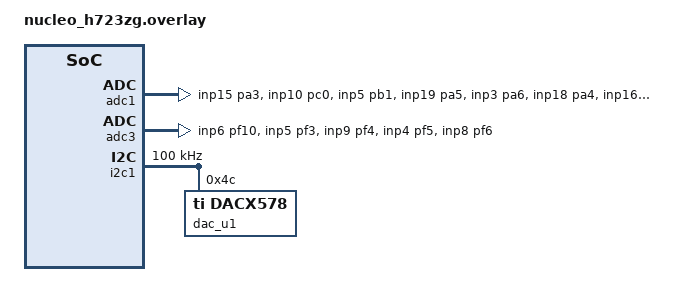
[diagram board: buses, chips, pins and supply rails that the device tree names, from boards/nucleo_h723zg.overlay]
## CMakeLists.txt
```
# SPDX-License-Identifier: Apache-2.0

cmake_minimum_required(VERSION 3.20.0)

# Out-of-tree devicetree bindings (zephyr,i2c-vpcb). Must precede find_package.
list(APPEND DTS_ROOT ${CMAKE_CURRENT_SOURCE_DIR})

find_package(Zephyr REQUIRED HINTS $ENV{ZEPHYR_BASE})

project(adc_sampler)

# Shared sources (target-agnostic)
target_sources(app PRIVATE
    src/main.c
    src/regs.c
    src/cmd_read_regs.c
)

# Target-specific sources
if(CONFIG_APP_TARGET_SIM)
    message(STATUS "Building for SIMULATOR target")
    target_sources(app PRIVATE
        targets/sim/adc_backend.c
        targets/sim/cmd_inject_adc.c
    )
elseif(CONFIG_APP_TARGET_HW)
    message(STATUS "Building for HARDWARE target")
    target_sources(app PRIVATE
        targets/hw/adc_backend.c
    )
elseif(CONFIG_APP_TARGET_VPCB)
    message(STATUS "Building for VIRTUAL PCB target (out-of-process ICs)")
    target_sources(app PRIVATE
        targets/vpcb/adc_backend.c
        drivers/i2c_vpcb.c
    )
    target_include_directories(app PRIVATE
        ${CMAKE_CURRENT_SOURCE_DIR}/drivers
    )
    # Host-context half: sockets live here, compiled against host headers.
    target_sources(native_simulator INTERFACE
        ${CMAKE_CURRENT_SOURCE_DIR}/drivers/i2c_vpcb_bottom.c
    )
    # The native_simulator INTERFACE target honours COMPILE_OPTIONS but NOT
    # INTERFACE_INCLUDE_DIRECTORIES (see arch/posix/CMakeLists.txt), so include
    # paths for host-context sources have to be passed as -I.
    target_compile_options(native_simulator INTERFACE
        "-I${CMAKE_CURRENT_SOURCE_DIR}/drivers"
        "-I${CMAKE_CURRENT_SOURCE_DIR}/../vpcb/include"
    )
endif()

# The DACx578 driver is not tied to any one target: it talks to whichever I2C
# controller devicetree hands it, so it builds for hardware as readily as for
# the virtual PCB. CONFIG_DAC_DACX578 follows the devicetree, so adding a node
# on any board is enough to pull the driver in.
if(CONFIG_DAC_DACX578)
    target_sources(app PRIVATE
        drivers/dac_dacx578.c
        src/cmd_dac.c
        src/dac_health.c
    )
endif()

if(NOT CONFIG_APP_TARGET_SIM AND NOT CONFIG_APP_TARGET_HW AND NOT CONFIG_APP_TARGET_VPCB)
    message(WARNING "No target selected! Set CONFIG_APP_TARGET_SIM, CONFIG_APP_TARGET_HW or CONFIG_APP_TARGET_VPCB")
endif()
```

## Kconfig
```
# SPDX-License-Identifier: Apache-2.0

mainmenu "ADC Sampler Application"

menu "Target Selection"

config APP_TARGET_SIM
    bool "Simulator target (QEMU with adc-emul)"
    help
      Build for QEMU x86 simulator with ADC emulation.
      Enables injection commands for testing.

config APP_TARGET_HW
    bool "Hardware target (real ADC)"
    help
      Build for real hardware with physical ADC.
      No injection commands are compiled.

config APP_TARGET_VPCB
    bool "Virtual PCB target (native_sim, out-of-process ICs)"
    help
      Build for native_sim against a virtual PCB. The I2C bus leaves the
      process: IC models run as separate OS processes and are reached over
      a Unix socket, so an absent chip NAKs exactly as it would on copper.

endmenu

menu "Virtual PCB"

config I2C_VPCB
    bool "Virtual PCB I2C controller driver"
    depends on I2C
    help
      I2C controller that forwards transactions out of the process to the
      virtual PCB board process.

endmenu

menu "Application Configuration"

config APP_NUM_CH
    int "Number of ADC channels"
    default 4
    range 1 16
    help
      Number of ADC channels to sample.

config APP_SAMPLE_PERIOD_MS
    int "Sampling period in milliseconds"
    default 100
    range 10 10000
    help
      How often to sample all ADC channels.

endmenu

menu "Device Drivers"

config DAC_DACX578
    bool "TI DACx578 8-channel I2C DAC"
    default y
    depends on DT_HAS_TI_DACX578_ENABLED
    depends on DAC && I2C
    help
      Driver for the TI DAC5578/6578/7578 family. Nothing in it is specific
      to the virtual PCB: it drives whichever I2C controller devicetree hands
      it, so the same object code runs against an out-of-process IC model and
      against real silicon.

endmenu

source "Kconfig.zephyr"
```

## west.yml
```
manifest:
  version: "0.13"
  self:
    path: app
```

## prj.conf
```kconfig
# Common configuration for all targets

# Shell subsystem
CONFIG_SHELL=y
CONFIG_SHELL_BACKEND_SERIAL=y

# Logging (optional, useful for debugging)
CONFIG_LOG=y
CONFIG_LOG_MODE_MINIMAL=y
```

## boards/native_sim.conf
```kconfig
# SPDX-License-Identifier: Apache-2.0
# Virtual PCB target: ICs run as separate host processes.

CONFIG_APP_TARGET_VPCB=y

CONFIG_ADC=y
CONFIG_ADC_EMUL=y

CONFIG_I2C=y
CONFIG_I2C_VPCB=y

# DACx578 driver: the firmware now reaches the DACs through the DAC API
# rather than composing I2C bytes itself.
CONFIG_DAC=y

# 15 channels: two DAC7578s (0x48, 0x4c) give 16, we use 15.
CONFIG_APP_NUM_CH=15

CONFIG_LOG=y
CONFIG_LOG_MODE_MINIMAL=y

# Pace simulated time to wall clock. Not needed for correctness - the IC models
# are purely reactive and need no clock - but without it the 100 ms sample
# period elapses instantly and the ADC floods the board process with net reads.
CONFIG_NATIVE_SIM_SLOWDOWN_TO_REAL_TIME=y

# Console on stdin/stdout instead of a pseudotty: simpler for automated tests
# and pipes (the pytest DUT then needs no PTY discovery at all).
CONFIG_UART_NATIVE_PTY_0_ON_STDINOUT=y
```

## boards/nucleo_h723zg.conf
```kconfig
# SPDX-License-Identifier: Apache-2.0
# Board-specific configuration for NUCLEO-H723ZG (hardware)

# Select hardware target
CONFIG_APP_TARGET_HW=y

# ADC subsystem
CONFIG_ADC=y

# Number of ADC channels (15 for mux setup)
CONFIG_APP_NUM_CH=15

# I2C and the DACx578 driver. The DACs are declared in the overlay so the same
# driver that runs against the virtual PCB is compiled for hardware too.
CONFIG_I2C=y
CONFIG_DAC=y
```

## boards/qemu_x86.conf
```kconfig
# SPDX-License-Identifier: Apache-2.0
# Board-specific configuration for QEMU x86 (simulator)

# Select simulator target
CONFIG_APP_TARGET_SIM=y

# ADC subsystem
CONFIG_ADC=y

# ADC emulator driver
CONFIG_ADC_EMUL=y

# Number of ADC channels (matches hardware configuration)
CONFIG_APP_NUM_CH=15
```

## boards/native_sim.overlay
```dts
/*
 * SPDX-License-Identifier: Apache-2.0
 *
 * Virtual PCB topology.
 *
 * The I2C bus leaves the process: transactions are forwarded to a separate
 * board process where the IC models run as their own OS processes.
 *
 * The ADC is internal to the MCU, so it stays in-process. native_sim already
 * provides an adc_emul instance at &adc0; widen it to the 15 channels this
 * application samples and give it the 3.3 V reference the DAC full-scale is
 * matched to.
 *
 * Two DACs by default. Build with one - the same rig as a bench with a single
 * breakout - by adding:   -- -DDTS_EXTRA_CPPFLAGS=-DAPP_DAC_COUNT=1
 * and run it against vpcb/netlists/adc_loopback_one_dac.txt.
 */

#ifndef APP_DAC_COUNT
#define APP_DAC_COUNT 2
#endif

/ {
    vpcb_i2c: i2c-vpcb {
        compatible = "zephyr,i2c-vpcb";
        status = "okay";
        #address-cells = <1>;
        #size-cells = <0>;
        clock-frequency = <100000>;

#if APP_DAC_COUNT == 1
        /* One DAC7578 at the breakout's factory address serves channels 0-7.
         * Channels 8-14 are still sampled; nothing drives them.
         */
        dac_u1: dacx578@4c {
            compatible = "ti,dacx578";
            reg = <0x4c>;
            #io-channel-cells = <1>;
            resolution = <12>;
            full-scale-mv = <3300>;
            status = "okay";
        };
#else
        /* Two DAC7578s cover the 15 channels the application samples:
         * 0x48 serves 0-7, 0x4c serves 8-14.
         */
        dac_u1: dacx578@48 {
            compatible = "ti,dacx578";
            reg = <0x48>;
            #io-channel-cells = <1>;
            resolution = <12>;
            full-scale-mv = <3300>;
            status = "okay";
        };

        dac_u2: dacx578@4c {
            compatible = "ti,dacx578";
            reg = <0x4c>;
            #io-channel-cells = <1>;
            resolution = <12>;
            full-scale-mv = <3300>;
            status = "okay";
        };
#endif
    };
};

&adc0 {
    nchannels = <15>;
    ref-internal-mv = <3300>;
    status = "okay";
};
```

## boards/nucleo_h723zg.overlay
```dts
/*
 * SPDX-License-Identifier: Apache-2.0
 *
 * Devicetree overlay for NUCLEO-H723ZG - 15-channel ADC configuration
 * 
 * Configures ADC1 and ADC3 with proper pinctrl for all channels.
 */

&adc1 {
	status = "okay";
	st,adc-clock-source = "SYNC";
	st,adc-prescaler = <4>;
	pinctrl-0 = <&adc1_inp15_pa3   /* C0: A0 */
	             &adc1_inp10_pc0   /* C1: A1 */
	             &adc1_inp5_pb1    /* C3: A3 */
	             &adc1_inp19_pa5   /* C6: D13 */
	             &adc1_inp3_pa6    /* C7: D12 */
	             &adc1_inp18_pa4   /* C8: D24 */
	             &adc1_inp16_pa0   /* C13: D32 */
	             &adc1_inp9_pb0>;  /* C14: D33 */
	pinctrl-names = "default";
};

&adc3 {
	status = "okay";
	st,adc-clock-source = "SYNC";
	st,adc-prescaler = <4>;
	pinctrl-0 = <&adc3_inp1_pc3_c  /* C2: A2 - PC3 is ADC3_INP1 */
	             &adc3_inp0_pc2_c  /* C4: A4 - PC2 is ADC3_INP0 */
	             &adc3_inp6_pf10   /* C5: A5 */
	             &adc3_inp5_pf3    /* C9: D8 */
	             &adc3_inp9_pf4    /* C10: A6 */
	             &adc3_inp4_pf5    /* C11: A7 */
	             &adc3_inp8_pf6>;  /* C12: A8 */
	pinctrl-names = "default";
};

/*
 * DAC7578 breakout(s) on the Arduino R3 I2C header. i2c1 is `arduino_i2c` on
 * this board and the board DTS already enables it on PB8 (D15, SCL) and PB9
 * (D14, SDA), so only the bus speed and the child nodes are set here.
 *
 * One DAC by default: a single breakout exactly as it ships answers at 0x4c,
 * so the rig needs no soldering. It drives board channels 0-7; channels 8-14
 * are still sampled and read whatever their floating pins pick up.
 *
 * For two DACs and all 15 channels, build with
 *     -- -DDTS_EXTRA_CPPFLAGS=-DAPP_DAC_COUNT=2
 * and strap the first board to 0x48 (address jumper to GND). Addresses are
 * strapped, not programmed -- see the table in docs/hardware.md. That is the
 * configuration the virtual PCB models by default.
 *
 * full-scale-mv is 3300 because full scale equals VREFIN (datasheet Equation 1:
 * VOUT = code / 2^n x VREFIN) and the rig ties VREFIN to the 3.3 V supply. If
 * your reference is something else, this number must change with it.
 */
#ifndef APP_DAC_COUNT
#define APP_DAC_COUNT 1
#endif

&i2c1 {
	status = "okay";

	/* 100 kHz, not the board default of 400. One breakout brings one set of
	 * 10 kOhm pull-ups, and on jumper wires that only meets fast mode's
	 * 300 ns rise time below roughly 35 pF. Standard mode allows 1000 ns.
	 * A DAC write is three bytes against a 100 ms sample period, so the
	 * slower bus costs nothing.
	 */
	clock-frequency = <100000>;

#if APP_DAC_COUNT == 1
	/* U1 - board channels 0-7, at the breakout's factory address */
	dac_u1: dacx578@4c {
		compatible = "ti,dacx578";
		reg = <0x4c>;
		#io-channel-cells = <1>;
		resolution = <12>;
		full-scale-mv = <3300>;
		status = "okay";
	};
#else
	/* U1 - board channels 0-7 */
	dac_u1: dacx578@48 {
		compatible = "ti,dacx578";
		reg = <0x48>;
		#io-channel-cells = <1>;
		resolution = <12>;
		full-scale-mv = <3300>;
		status = "okay";
	};

	/* U2 - board channels 8-14; its channel 7 is unused */
	dac_u2: dacx578@4c {
		compatible = "ti,dacx578";
		reg = <0x4c>;
		#io-channel-cells = <1>;
		resolution = <12>;
		full-scale-mv = <3300>;
		status = "okay";
	};
#endif
};
```

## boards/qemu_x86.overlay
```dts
/*
 * SPDX-License-Identifier: Apache-2.0
 *
 * Devicetree overlay for QEMU x86 - ADC Emulator
 */

/ {
    adc0: adc_emul {
        compatible = "zephyr,adc-emul";
        status = "okay";
        #io-channel-cells = <1>;
        nchannels = <15>;
        ref-internal-mv = <3300>;
    };
};
```

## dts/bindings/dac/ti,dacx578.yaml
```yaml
# SPDX-License-Identifier: Apache-2.0

description: |
  Texas Instruments DACx578 family: 8-channel, I2C, voltage-output DACs.

  One register map covers the family; the members differ only in resolution:
  DAC5578 (8-bit), DAC6578 (10-bit) and DAC7578 (12-bit). Set the resolution
  property to select the part.

  The output stage is a resistor-string DAC followed by a unity-gain buffer:
  VOUT = (code / 2^n) x VREFIN, so full-scale output equals the reference
  voltage (datasheet SBAS496B, Equation 1).

compatible: "ti,dacx578"

include: [dac-controller.yaml, i2c-device.yaml]

properties:
  "#io-channel-cells":
    const: 1

  resolution:
    type: int
    required: true
    enum: [8, 10, 12]
    description: |
      DAC resolution in bits. 8 selects DAC5578, 10 selects DAC6578 and
      12 selects DAC7578.

  full-scale-mv:
    type: int
    required: true
    description: |
      Full-scale output in millivolts, i.e. the reference voltage applied
      to VREFIN, which cannot exceed AVDD. Applications use this to convert
      between millivolts and DAC codes.

io-channel-cells:
  - output
```

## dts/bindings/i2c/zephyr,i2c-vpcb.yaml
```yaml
# SPDX-License-Identifier: Apache-2.0

description: |
  Virtual PCB I2C controller. Forwards transactions out of the process to a
  separate board process over a Unix socket, where the IC models run as their
  own OS processes.

compatible: "zephyr,i2c-vpcb"

include: i2c-controller.yaml
```

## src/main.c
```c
/*
 * SPDX-License-Identifier: Apache-2.0
 *
 * ADC Sampler Application - Main Entry Point
 */

#include <zephyr/kernel.h>
#include <zephyr/logging/log.h>
#include "regs.h"
#include "adc_backend.h"
#include "dac_health.h"

LOG_MODULE_REGISTER(main, LOG_LEVEL_INF);

/* Sampling thread configuration */
#define SAMPLE_THREAD_STACK_SIZE 1024
#define SAMPLE_THREAD_PRIORITY   5

#ifdef CONFIG_APP_SAMPLE_PERIOD_MS
#define SAMPLE_PERIOD_MS CONFIG_APP_SAMPLE_PERIOD_MS
#else
#define SAMPLE_PERIOD_MS 100
#endif

/* Sampling thread stack and data */
K_THREAD_STACK_DEFINE(sample_thread_stack, SAMPLE_THREAD_STACK_SIZE);
static struct k_thread sample_thread_data;

/**
 * @brief Sampling thread entry point
 *
 * Periodically samples all ADC channels and updates the register file.
 */
static void sample_thread_entry(void *p1, void *p2, void *p3)
{
    ARG_UNUSED(p1);
    ARG_UNUSED(p2);
    ARG_UNUSED(p3);

    int32_t samples[NUM_CH];
    bool valid[NUM_CH];
    int ret;

    LOG_INF("Sampling thread started (period=%d ms)", SAMPLE_PERIOD_MS);

    while (1) {
        ret = adc_backend_sample_all(samples, valid);
        if (ret == 0) {
            dac_health_apply(valid);
            regs_update(samples, valid);
        } else {
            LOG_ERR("ADC sample failed: %d", ret);
        }

        k_msleep(SAMPLE_PERIOD_MS);
    }
}

int main(void)
{
    int ret;

    LOG_INF("ADC Sampler application started");

    /* Initialize register file */
    regs_init();

    /* Initialize ADC backend */
    ret = adc_backend_init();
    if (ret != 0) {
        LOG_ERR("ADC backend init failed: %d", ret);
        return ret;
    }

    /* Start sampling thread */
    k_thread_create(&sample_thread_data, sample_thread_stack,
                    K_THREAD_STACK_SIZEOF(sample_thread_stack),
                    sample_thread_entry,
                    NULL, NULL, NULL,
                    SAMPLE_THREAD_PRIORITY, 0, K_NO_WAIT);
    k_thread_name_set(&sample_thread_data, "adc_sampler");

    printk("ADC Sampler ready. Type 'help' for available commands.\n");

    return 0;
}
```

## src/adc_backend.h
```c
/*
 * SPDX-License-Identifier: Apache-2.0
 *
 * ADC Backend Interface - Target-agnostic ADC abstraction
 *
 * This header defines the interface that must be implemented by
 * target-specific backends (SIM or HW).
 */

#ifndef ADC_BACKEND_H_
#define ADC_BACKEND_H_

#include <stdint.h>
#include "regs.h"  /* For NUM_CH */

/**
 * @brief Initialize the ADC backend
 *
 * Must be called once during startup before any sampling.
 *
 * @return 0 on success, negative errno on failure
 */
int adc_backend_init(void);

/**
 * @brief Sample all ADC channels
 *
 * Reads all configured channels and returns values in millivolts, with a
 * per-channel flag saying whether each value is a real reading. A channel
 * whose read failed - or, on the virtual PCB, whose net is floating - comes
 * back invalid instead of as a made-up 0 mV.
 *
 * @param out_mv    Array of NUM_CH to receive millivolt values
 * @param out_valid Array of NUM_CH: true where out_mv[i] is a real reading
 * @return 0 on success, negative errno on failure
 */
int adc_backend_sample_all(int32_t out_mv[NUM_CH], bool out_valid[NUM_CH]);

#endif /* ADC_BACKEND_H_ */
```

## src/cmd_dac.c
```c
/*
 * SPDX-License-Identifier: Apache-2.0
 *
 * Shell command that drives a real DAC7578 register write. Unlike the
 * simulator target's `adcset`, nothing is injected into the ADC: the value
 * travels MCU -> DAC driver -> I2C -> DAC -> net -> ADC. Against the virtual
 * PCB two of those hops cross a process boundary; on hardware they cross
 * copper. The firmware cannot tell, which is the point.
 *
 * This command is deliberately target-agnostic. The register encoding lives in
 * the DACx578 driver, and all that is left here is the board-level channel map
 * and the millivolt-to-code conversion, so wiring the parts up for real needs
 * no new code.
 */

#include <zephyr/kernel.h>
#include <zephyr/device.h>
#include <zephyr/drivers/dac.h>
#include <zephyr/shell/shell.h>
#include <stdlib.h>

#define DAC_U1_NODE DT_NODELABEL(dac_u1)
#define DAC_U2_NODE DT_NODELABEL(dac_u2)

#if !DT_NODE_EXISTS(DAC_U1_NODE)
#error "dacset needs a DACx578 node labelled dac_u1 (and optionally dac_u2)"
#endif

/* A rig is built with one DAC or two. dac_u1 always serves board channels
 * 0..7; dac_u2, when the devicetree has one, adds 8..14. Which addresses they
 * sit at is the overlay's business, not this file's.
 */
#define HAVE_DAC_U2 DT_NODE_EXISTS(DAC_U2_NODE)

#if HAVE_DAC_U2
/* The channel map below assumes the two parts are interchangeable. They are on
 * this board, but say so at compile time rather than trusting the overlay.
 */
BUILD_ASSERT(DT_PROP(DAC_U1_NODE, resolution) == DT_PROP(DAC_U2_NODE, resolution),
	     "both DACs must share a resolution");
BUILD_ASSERT(DT_PROP(DAC_U1_NODE, full_scale_mv) == DT_PROP(DAC_U2_NODE, full_scale_mv),
	     "both DACs must share a full-scale range");
#endif

#define DAC_RESOLUTION    DT_PROP(DAC_U1_NODE, resolution)
#define DAC_FULL_SCALE_MV DT_PROP(DAC_U1_NODE, full_scale_mv)
#define DAC_CH_PER_PART   8
#define BOARD_NUM_CH      (HAVE_DAC_U2 ? 15 : DAC_CH_PER_PART)

static const struct device *dac_for_channel(unsigned int ch, uint8_t *local)
{
	if (ch < DAC_CH_PER_PART) {
		*local = (uint8_t)ch;
		return DEVICE_DT_GET(DAC_U1_NODE);
	}

#if HAVE_DAC_U2
	*local = (uint8_t)(ch - DAC_CH_PER_PART);
	return DEVICE_DT_GET(DAC_U2_NODE);
#else
	/* Unreachable: cmd_dacset rejects ch >= BOARD_NUM_CH first. */
	*local = 0;
	return NULL;
#endif
}

static int cmd_dacset(const struct shell *sh, size_t argc, char **argv)
{
	const struct device *dev;
	struct dac_channel_cfg cfg;
	unsigned int ch;
	int mv, ret;
	uint8_t local;
	uint16_t code;

	if (argc != 3) {
		shell_error(sh, "usage: dacset <channel> <millivolts>");
		return -EINVAL;
	}

	ch = (unsigned int)strtoul(argv[1], NULL, 0);
	mv = (int)strtol(argv[2], NULL, 0);

	if (ch >= BOARD_NUM_CH) {
		shell_error(sh, "channel must be 0..%d - this board is built with %d DAC%s",
			    BOARD_NUM_CH - 1, HAVE_DAC_U2 ? 2 : 1, HAVE_DAC_U2 ? "s" : "");
		return -EINVAL;
	}
	if (mv < 0 || mv > DAC_FULL_SCALE_MV) {
		shell_error(sh, "millivolts must be 0..%d", DAC_FULL_SCALE_MV);
		return -EINVAL;
	}

	dev = dac_for_channel(ch, &local);
	if (!device_is_ready(dev)) {
		shell_error(sh, "%s not ready", dev->name);
		return -ENODEV;
	}

	/* Costs no bus traffic on this part, so it is done per command rather
	 * than tracked in state the shell would have to invalidate.
	 */
	cfg = (struct dac_channel_cfg){
		.channel_id = local,
		.resolution = DAC_RESOLUTION,
	};

	ret = dac_channel_setup(dev, &cfg);
	if (ret != 0) {
		shell_error(sh, "dacset ch%u: channel setup failed (%d)", ch, ret);
		return ret;
	}

	code = (uint16_t)(((long)mv * ((1 << DAC_RESOLUTION) - 1)) / DAC_FULL_SCALE_MV);

	ret = dac_write_value(dev, local, code);
	if (ret != 0) {
		shell_error(sh,
			    "dacset ch%u: write to %s FAILED (%d)%s",
			    ch, dev->name, ret,
			    ret == -EIO ? " - nothing answered on the bus" : "");
		return ret;
	}

	shell_print(sh, "dacset ch%u -> %s ch%u code=%u OK",
		    ch, dev->name, local, code);
	return 0;
}

SHELL_CMD_ARG_REGISTER(dacset, NULL,
		       "Drive a DAC channel across the virtual PCB: dacset <ch> <mv>",
		       cmd_dacset, 3, 0);
```

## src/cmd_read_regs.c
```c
/*
 * SPDX-License-Identifier: Apache-2.0
 *
 * Shell command: adcregs - Print ADC register file contents
 */

#include <zephyr/shell/shell.h>
#include "regs.h"

static int cmd_adcregs(const struct shell *sh, size_t argc, char **argv)
{
    struct adc_regs snapshot;

    ARG_UNUSED(argc);
    ARG_UNUSED(argv);

    regs_read(&snapshot);

    shell_print(sh, "ADC Register File:");
    shell_print(sh, "  seq:       %u", snapshot.seq);
    shell_print(sh, "  timestamp: %lld ms", snapshot.last_sample_uptime_ms);
    shell_print(sh, "  channels:");

    for (int i = 0; i < NUM_CH; i++) {
        if (snapshot.valid[i]) {
            shell_print(sh, "    ch[%d]: %d mV", i, snapshot.mv[i]);
        } else {
            /* Not a number: there is no reading to show. */
            shell_print(sh, "    ch[%d]: ---", i);
        }
    }

    return 0;
}

SHELL_CMD_REGISTER(adcregs, NULL, "Print ADC register file contents", cmd_adcregs);
```

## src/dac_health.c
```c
/*
 * SPDX-License-Identifier: Apache-2.0
 *
 * A reading is only as good as what drives it. On this rig every wired ADC
 * channel is driven by a DACx578, so each sample cycle asks each DAC whether it
 * still answers. If one doesn't, the channels it drives are marked "no
 * reading" (--- in adcregs) until it answers again.
 *
 * The pin may still hold a perfectly good voltage - pull SDA and the DAC keeps
 * driving its last value - but the firmware has lost the part that set it, so
 * it can no longer vouch for the number. This is the same on the real board
 * and the virtual one, because it is decided here, from the same I2C answer.
 */

#include <zephyr/kernel.h>
#include <zephyr/device.h>
#include <zephyr/logging/log.h>

#include "../drivers/dac_dacx578.h"
#include "dac_health.h"

LOG_MODULE_REGISTER(dac_health, LOG_LEVEL_INF);

#define DAC_CH_PER_PART 8

struct dac_part {
	const struct device *dev;
	unsigned int first_ch;   /* board channel driven by output 0 */
	bool answering;
};

static struct dac_part parts[] = {
	{ DEVICE_DT_GET(DT_NODELABEL(dac_u1)), 0, true },
#if DT_NODE_EXISTS(DT_NODELABEL(dac_u2))
	{ DEVICE_DT_GET(DT_NODELABEL(dac_u2)), DAC_CH_PER_PART, true },
#endif
};

void dac_health_apply(bool valid[NUM_CH])
{
	for (size_t i = 0; i < ARRAY_SIZE(parts); i++) {
		struct dac_part *p = &parts[i];
		int ret = dacx578_check(p->dev);
		bool now = (ret == 0);

		/* Once per change of state, not ten times a second. */
		if (now != p->answering) {
			if (now) {
				LOG_INF("%s answering again", p->dev->name);
			} else {
				LOG_WRN("%s not answering (%d) - its channels read ---",
					p->dev->name, ret);
			}
			p->answering = now;
		}

		if (!now) {
			for (unsigned int ch = p->first_ch;
			     ch < p->first_ch + DAC_CH_PER_PART && ch < NUM_CH; ch++) {
				valid[ch] = false;
			}
		}
	}
}
```

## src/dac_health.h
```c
/*
 * SPDX-License-Identifier: Apache-2.0
 */

#ifndef APP_DAC_HEALTH_H_
#define APP_DAC_HEALTH_H_

#include <stdbool.h>
#include "regs.h"  /* NUM_CH */

#ifdef CONFIG_DAC_DACX578
/**
 * @brief Mark the channels of any DAC that no longer answers as not valid.
 */
void dac_health_apply(bool valid[NUM_CH]);
#else
/* No DACs on this target (QEMU): nothing drives the channels but injection. */
static inline void dac_health_apply(bool valid[NUM_CH]) { (void)valid; }
#endif

#endif /* APP_DAC_HEALTH_H_ */
```

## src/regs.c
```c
/*
 * SPDX-License-Identifier: Apache-2.0
 *
 * ADC Register File Implementation
 */

#include "regs.h"
#include <string.h>

/* Mutex protecting the register file */
static K_MUTEX_DEFINE(regs_mutex);

/* The register file instance */
static struct adc_regs regs;

void regs_init(void)
{
    k_mutex_lock(&regs_mutex, K_FOREVER);

    /* Zeroing also leaves every channel invalid: nothing has been sampled
     * yet, and 0 mV would be a claim. */
    memset(&regs, 0, sizeof(regs));
    regs.seq = 0;
    regs.last_sample_uptime_ms = 0;

    k_mutex_unlock(&regs_mutex);
}

void regs_update(const int32_t mv[NUM_CH], const bool valid[NUM_CH])
{
    k_mutex_lock(&regs_mutex, K_FOREVER);

    for (int i = 0; i < NUM_CH; i++) {
        regs.mv[i] = mv[i];
        regs.valid[i] = valid[i];
    }
    regs.seq++;
    regs.last_sample_uptime_ms = k_uptime_get();

    k_mutex_unlock(&regs_mutex);
}

void regs_read(struct adc_regs *out)
{
    k_mutex_lock(&regs_mutex, K_FOREVER);

    memcpy(out, &regs, sizeof(regs));

    k_mutex_unlock(&regs_mutex);
}
```

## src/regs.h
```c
/*
 * SPDX-License-Identifier: Apache-2.0
 *
 * ADC Register File - Thread-safe storage for ADC samples
 */

#ifndef REGS_H_
#define REGS_H_

#include <zephyr/kernel.h>
#include <stdbool.h>
#include <stdint.h>

#ifdef CONFIG_APP_NUM_CH
#define NUM_CH CONFIG_APP_NUM_CH
#else
#define NUM_CH 4
#endif

/**
 * @brief ADC register file structure
 *
 * Stores the latest ADC sample values and metadata.
 * Access must be protected by the regs API functions.
 */
struct adc_regs {
    int32_t mv[NUM_CH];             /* Latest mV per channel */
    bool valid[NUM_CH];             /* Is mv[i] a real reading? */
    uint32_t seq;                   /* Sequence number, increments each update */
    int64_t last_sample_uptime_ms;  /* Timestamp of last update (k_uptime_get()) */
};

/**
 * @brief Initialize the register file
 *
 * Must be called before any other regs_* functions.
 */
void regs_init(void);

/**
 * @brief Update the register file with new samples
 *
 * Thread-safe. Updates all channel values atomically.
 *
 * @param mv    Array of NUM_CH millivolt values
 * @param valid Array of NUM_CH: false where there is no real reading
 */
void regs_update(const int32_t mv[NUM_CH], const bool valid[NUM_CH]);

/**
 * @brief Read the current register file state
 *
 * Thread-safe. Copies the current state to the provided structure.
 *
 * @param out Pointer to structure to receive the current state
 */
void regs_read(struct adc_regs *out);

#endif /* REGS_H_ */
```
